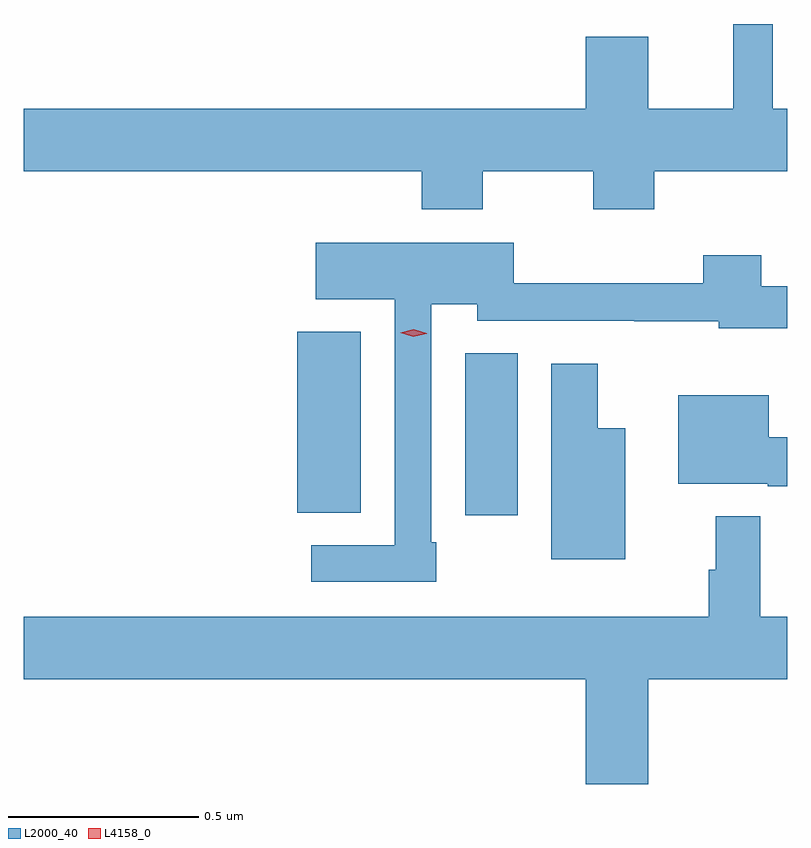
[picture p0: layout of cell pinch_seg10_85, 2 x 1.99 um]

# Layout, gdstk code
import gdstk
lib = gdstk.Library(unit=1e-6, precision=1e-09)
def R(c, l, rs):  # rectangles x0, y0, x1, y1
    for r in rs: c.add(gdstk.rectangle(r[:2], r[2:], *l))
def P(c, l, *ps):  # polygons
    for p in ps: c.add(gdstk.Polygon(p, *l))
L2000_40 = (2000, 40)
L4158_0 = (4158, 0)

pinch_seg10_85 = lib.new_cell('pinch_seg10_85')
R(pinch_seg10_85, L2000_40, [(752.105,1303.41,752.242,1303.835), (751.664,1303.417,751.831,1303.891)])
P(pinch_seg10_85, L2000_40, [(752.151,1304.312),(752.44,1304.312),(752.44,1304.213),(752.6,1304.213),(752.6,1304.312),(752.948,1304.312),(752.948,1304.476),(752.911,1304.476),(752.911,1304.698),(752.807,1304.698),(752.807,1304.476),(752.584,1304.476),(752.584,1304.665),(752.42,1304.665),(752.42,1304.476),(750.948,1304.476),(750.948,1304.312),(751.991,1304.312),(751.991,1304.213),(752.151,1304.213)],
  [(752.029,1303.339),(752.016,1303.339),(752.016,1303.964),(752.136,1303.964),(752.136,1303.92),(752.548,1303.92),(752.548,1303.919),(752.769,1303.919),(752.769,1303.901),(752.948,1303.901),(752.948,1304.011),(752.881,1304.011),(752.881,1304.092),(752.729,1304.092),(752.729,1304.018),(752.232,1304.018),(752.232,1304.125),(751.713,1304.125),(751.713,1303.976),(751.92,1303.976),(751.92,1303.332),(751.701,1303.332),(751.701,1303.236),(752.029,1303.236)],
  [(752.524,1303.639),(752.452,1303.639),(752.452,1303.807),(752.33,1303.807),(752.33,1303.295),(752.524,1303.295)],
  [(752.948,1303.615),(752.9,1303.615),(752.9,1303.725),(752.663,1303.725),(752.663,1303.493),(752.898,1303.493),(752.898,1303.486),(752.948,1303.486)],
  [(752.584,1302.98),(752.948,1302.98),(752.948,1303.144),(752.878,1303.144),(752.878,1303.408),(752.761,1303.408),(752.761,1303.268),(752.743,1303.268),(752.743,1303.144),(750.948,1303.144),(750.948,1302.98),(752.42,1302.98),(752.42,1302.706),(752.584,1302.706)])
P(pinch_seg10_85, L4158_0, [(751.968,1303.878),(751.934,1303.889),(751.934,1303.889),(751.934,1303.889),(751.969,1303.898),(752.004,1303.887),(752.004,1303.887),(752.004,1303.886)])

lib.write_gds('pinch_seg10_85.gds')
